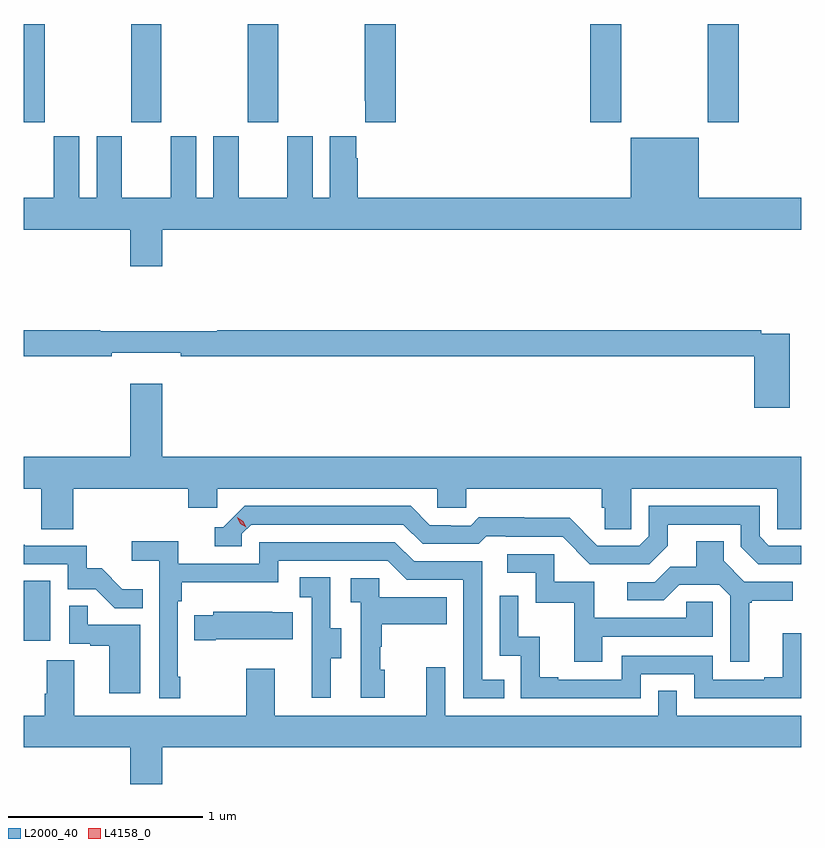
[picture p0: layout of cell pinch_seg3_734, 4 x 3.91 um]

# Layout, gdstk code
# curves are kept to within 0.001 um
import gdstk
lib = gdstk.Library(unit=1e-6, precision=1e-09)
def R(c, l, rs):  # rectangles x0, y0, x1, y1
    for r in rs: c.add(gdstk.rectangle(r[:2], r[2:], *l))
def P(c, l, *ps):  # polygons
    for p in ps: c.add(gdstk.Polygon(p, *l))
L2000_40 = (2000, 40)
L4158_0 = (4158, 0)

pinch_seg3_734 = lib.new_cell('pinch_seg3_734')
R(pinch_seg3_734, L2000_40, [(859.764,740.094,859.9,740.401), (859.764,742.761,859.872,743.267), (860.317,742.761,860.472,743.267), (860.917,742.761,861.072,743.267), (862.679,742.761,862.839,743.267), (863.284,742.761,863.444,743.267)])
P(pinch_seg3_734, L2000_40, [(861.677,743.267),(861.517,743.267),(861.517,742.873),(861.521,742.873),(861.521,742.761),(861.677,742.761)],
  [(860.476,742.208),(863.764,742.208),(863.764,742.372),(863.236,742.372),(863.236,742.681),(862.886,742.681),(862.886,742.372),(861.482,742.372),(861.482,742.577),(861.475,742.577),(861.475,742.69),(861.338,742.69),(861.338,742.372),(861.25,742.372),(861.25,742.69),(861.119,742.69),(861.119,742.372),(860.869,742.372),(860.869,742.69),(860.738,742.69),(860.738,742.372),(860.65,742.372),(860.65,742.69),(860.519,742.69),(860.519,742.372),(860.269,742.372),(860.269,742.69),(860.138,742.69),(860.138,742.372),(860.05,742.372),(860.05,742.69),(859.919,742.69),(859.919,742.372),(859.764,742.372),(859.764,742.208),(860.312,742.208),(860.312,742.02),(860.476,742.02)],
  [(863.705,741.672),(863.558,741.672),(863.558,741.692),(860.758,741.692),(860.758,741.685),(860.158,741.685),(860.158,741.692),(859.764,741.692),(859.764,741.556),(860.216,741.556),(860.216,741.575),(860.572,741.575),(860.572,741.556),(863.522,741.556),(863.522,741.291),(863.705,741.291)],
  [(860.018,740.876),(860.609,740.876),(860.609,740.778),(860.76,740.778),(860.76,740.876),(861.891,740.876),(861.891,740.778),(862.041,740.778),(862.041,740.876),(862.739,740.876),(862.739,740.778),(862.753,740.778),(862.753,740.668),(862.89,740.668),(862.89,740.876),(863.64,740.876),(863.64,740.668),(863.764,740.668),(863.764,741.04),(860.476,741.04),(860.476,741.415),(860.312,741.415),(860.312,741.04),(859.764,741.04),(859.764,740.876),(859.853,740.876),(859.853,740.668),(860.018,740.668)],
  [(863.764,740.583),(863.598,740.583),(863.55,740.631),(863.55,740.787),(862.98,740.787),(862.98,740.631),(862.932,740.583),(862.716,740.583),(862.574,740.725),(862.338,740.725),(862.338,740.728),(862.105,740.728),(862.063,740.685),(861.96,740.685),(861.96,740.688),(861.853,740.688),(861.754,740.787),(860.901,740.787),(860.79,740.676),(860.747,740.676),(860.747,740.58),(860.886,740.58),(860.886,740.643),(860.934,740.691),(861.717,740.691),(861.816,740.592),(862.105,740.592),(862.144,740.631),(862.243,740.631),(862.243,740.628),(862.536,740.628),(862.677,740.487),(862.983,740.487),(863.077,740.581),(863.077,740.691),(863.454,740.691),(863.454,740.577),(863.544,740.487),(863.764,740.486)],
  [(860.569,739.909),(860.556,739.909),(860.556,740.297),(860.576,740.297),(860.576,740.393),(861.072,740.393),(861.072,740.505),(861.636,740.505),(861.735,740.406),(862.026,740.406),(862.026,739.797),(862.235,739.797),(862.235,739.893),(862.122,739.893),(862.122,740.502),(861.772,740.502),(861.673,740.601),(860.976,740.601),(860.976,740.49),(860.558,740.49),(860.558,740.606),(860.319,740.606),(860.319,740.504),(860.46,740.504),(860.46,739.797),(860.569,739.797)],
  [(863.497,740.289),(863.509,740.289),(863.509,740.3),(863.722,740.3),(863.722,740.397),(863.472,740.397),(863.365,740.504),(863.365,740.606),(863.225,740.606),(863.225,740.474),(863.09,740.474),(863.01,740.394),(862.869,740.394),(862.869,740.301),(863.056,740.301),(863.137,740.382),(863.343,740.382),(863.4,740.325),(863.4,739.986),(863.497,739.986)],
  [(860.375,740.359),(860.271,740.359),(860.164,740.466),(860.088,740.466),(860.088,740.583),(859.769,740.583),(859.769,740.588),(859.764,740.588),(859.764,740.487),(859.989,740.487),(859.989,740.358),(860.133,740.358),(860.231,740.26),(860.375,740.26)],
  [(862.741,740.115),(863.31,740.115),(863.31,740.295),(863.173,740.295),(863.173,740.211),(862.699,740.211),(862.699,740.397),(862.494,740.397),(862.494,740.538),(862.251,740.538),(862.251,740.442),(862.398,740.442),(862.398,740.289),(862.597,740.289),(862.597,739.986),(862.741,739.986)],
  [(861.343,740.002),(861.397,740.002),(861.397,740.157),(861.342,740.157),(861.342,740.42),(861.183,740.42),(861.183,740.317),(861.246,740.317),(861.246,740.013),(861.245,740.013),(861.245,739.8),(861.343,739.8)],
  [(861.622,739.944),(861.597,739.944),(861.597,740.063),(861.607,740.063),(861.607,740.177),(861.941,740.177),(861.941,740.317),(861.594,740.317),(861.594,740.415),(861.447,740.415),(861.447,740.291),(861.498,740.291),(861.498,739.8),(861.622,739.8)],
  [(862.938,739.92),(863.214,739.92),(863.214,739.797),(863.764,739.797),(863.764,740.131),(863.669,740.131),(863.669,739.906),(863.573,739.906),(863.573,739.893),(863.31,739.893),(863.31,740.016),(862.842,740.016),(862.842,739.893),(862.513,739.893),(862.513,739.906),(862.418,739.906),(862.418,740.114),(862.308,740.114),(862.308,740.326),(862.212,740.326),(862.212,740.016),(862.32,740.016),(862.32,739.797),(862.938,739.797)],
  [(860.362,740.175),(860.093,740.175),(860.093,740.273),(859.998,740.273),(859.998,740.079),(860.105,740.079),(860.105,740.067),(860.204,740.067),(860.204,739.824),(860.362,739.824)],
  [(860.752,740.102),(861.149,740.102),(861.149,740.239),(861.041,740.239),(861.041,740.242),(860.739,740.242),(860.739,740.224),(860.641,740.224),(860.641,740.095),(860.752,740.095)],
  [(860.476,739.544),(863.764,739.544),(863.764,739.708),(863.124,739.708),(863.124,739.835),(863.028,739.835),(863.028,739.708),(861.933,739.708),(861.933,739.957),(861.836,739.957),(861.836,739.708),(861.055,739.708),(861.055,739.948),(860.908,739.948),(860.908,739.708),(860.023,739.708),(860.023,739.994),(859.883,739.994),(859.883,739.82),(859.871,739.82),(859.871,739.708),(859.764,739.708),(859.764,739.544),(860.312,739.544),(860.312,739.356),(860.476,739.356)])
P(pinch_seg3_734, L4158_0, [(860.909,740.676),(860.878,740.695),(860.861,740.728),(860.861,740.728),(860.862,740.728),(860.893,740.709),(860.909,740.676),(860.909,740.676)])

lib.write_gds('pinch_seg3_734.gds')
